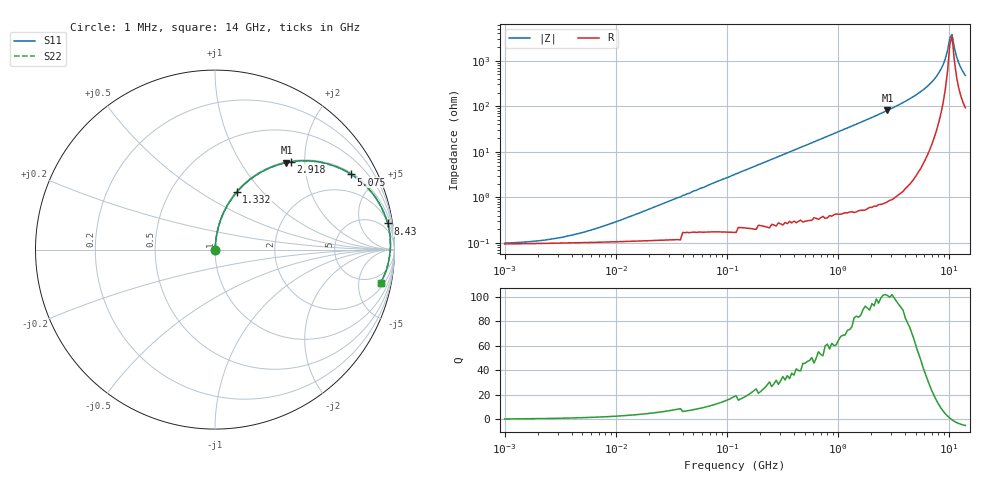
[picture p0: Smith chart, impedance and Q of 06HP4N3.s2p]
# MHz S MA R 50
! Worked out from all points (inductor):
!   208 points, 1 MHz to 14 GHz, reference 50 ohm
!   read as one part in series: L = 4.3 nH near 12.07 MHz
!   highest Q = 101 at 2.787 GHz (marker M1), where L = 4.63 nH
!   self-resonance near 10.14 GHz
!   S11 on the Smith chart (normalised r, x): 1 MHz: 1.00, +0.00; 1.332 GHz: 1.01, +0.73; 2.918 GHz: 1.02, +1.71; 5.075 GHz: 1.06, +3.59; 8.43 GHz: 2, +13; 14 GHz: 2.85, -9.29
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1  0.0009407 16.7  0.999 -0.0  0.999 -0.0  0.0009407 16.7
2.402  0.001156 34.1  0.999 -0.0  0.999 -0.0  0.001156 34.1
5.024  0.001701 52.8  0.999 -0.1  0.999 -0.1  0.001701 52.8
25.239  0.006935 78.7  0.999 -0.4  0.999 -0.4  0.006935 78.7
121.082  0.033 84.8  0.998 -1.9  0.998 -1.9  0.033 84.8
580.879  0.155 79.9  0.985 -8.9  0.985 -8.9  0.155 79.9
1332.35  0.342 69.3  0.935 -20.0  0.935 -20.0  0.342 69.3
1926.882  0.472 61.2  0.876 -28.2  0.876 -28.2  0.472 61.2
2786.711  0.627 50.6  0.773 -38.8  0.773 -38.8  0.627 50.6
2918.243  0.647 49.1  0.756 -40.3  0.756 -40.3  0.647 49.1
3848.568  0.765 39.5  0.636 -49.9  0.636 -49.9  0.765 39.5
5075.476  0.867 28.9  0.483 -60.1  0.483 -60.1  0.867 28.9
6693.517  0.941 17.9  0.307 -70.0  0.307 -70.0  0.941 17.9
8429.511  0.973 8.6  0.15 -75.3  0.15 -75.3  0.973 8.6
9244.035  0.978 4.9  0.088 -72.7  0.088 -72.7  0.978 4.9
9680.353  0.978 3.1  0.058 -66.2  0.058 -66.2  0.978 3.1
10137.26  0.978 1.3  0.031 -43.6  0.031 -43.6  0.978 1.3
10615.74  0.976 -0.6  0.026 21.7  0.026 21.7  0.976 -0.6
11116.81  0.973 -2.4  0.049 55.5  0.049 55.5  0.973 -2.4
11641.52  0.969 -4.2  0.078 64.7  0.078 64.7  0.969 -4.2
12766.41  0.958 -7.7  0.139 68.5  0.139 68.5  0.958 -7.7
14000  0.942 -11.3  0.199 67.5  0.199 67.5  0.942 -11.3
